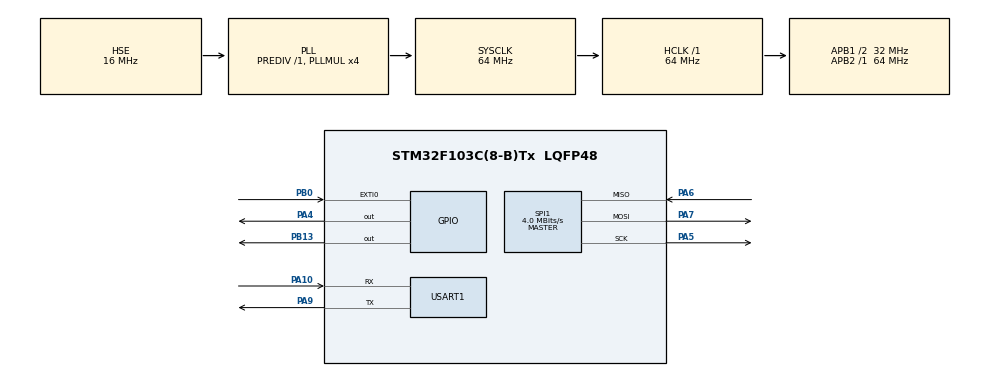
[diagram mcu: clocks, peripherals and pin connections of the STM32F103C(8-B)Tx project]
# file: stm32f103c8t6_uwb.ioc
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Mcu.Family=STM32F1
Mcu.Name=STM32F103C(8-B)Tx
Mcu.Package=LQFP48
NVIC.PriorityGroup=NVIC_PRIORITYGROUP_4
NVIC.USART1_IRQn=true\:0\:0\:false\:false\:true\:true\:true\:true
PA10.Mode=Asynchronous
PA10.Signal=USART1_RX
PA13.Mode=Serial_Wire
PA13.Signal=SYS_JTMS-SWDIO
PA14.Mode=Serial_Wire
PA14.Signal=SYS_JTCK-SWCLK
PA4.Signal=GPIO_Output
PA5.Mode=Full_Duplex_Master
PA5.Signal=SPI1_SCK
PA6.Mode=Full_Duplex_Master
PA6.Signal=SPI1_MISO
PA7.Mode=Full_Duplex_Master
PA7.Signal=SPI1_MOSI
PA9.Mode=Asynchronous
PA9.Signal=USART1_TX
PB0.Signal=GPXTI0
PB13.Signal=GPIO_Output
PD0-OSC_IN.Mode=HSE-External-Oscillator
PD0-OSC_IN.Signal=RCC_OSC_IN
PD1-OSC_OUT.Mode=HSE-External-Oscillator
PD1-OSC_OUT.Signal=RCC_OSC_OUT
ProjectManager.HeapSize=0x400
ProjectManager.StackSize=0x400
ProjectManager.TargetToolchain=MDK-ARM V5.27
RCC.AHBFreq_Value=64000000
RCC.APB1CLKDivider=RCC_HCLK_DIV2
RCC.APB1Freq_Value=32000000
RCC.APB1TimFreq_Value=64000000
RCC.APB2Freq_Value=64000000
RCC.APB2TimFreq_Value=64000000
RCC.HCLKFreq_Value=64000000
RCC.HSE_VALUE=16000000
RCC.PLLMUL=RCC_PLL_MUL4
RCC.PLLSourceVirtual=RCC_PLLSOURCE_HSE
RCC.SYSCLKFreq_VALUE=64000000
RCC.SYSCLKSource=RCC_SYSCLKSOURCE_PLLCLK
RCC.USBFreq_Value=64000000
SPI1.BaudRatePrescaler=SPI_BAUDRATEPRESCALER_16
SPI1.CLKPolarity=SPI_POLARITY_LOW
SPI1.CRCCalculation=SPI_CRCCALCULATION_DISABLE
SPI1.CalculateBaudRate=4.0 MBits/s
SPI1.Direction=SPI_DIRECTION_2LINES
SPI1.Mode=SPI_MODE_MASTER
SPI1.VirtualType=VM_MASTER
USART1.Parity=PARITY_NONE
USART1.VirtualMode=VM_ASYNC
board=custom

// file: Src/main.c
/* USER CODE BEGIN Header */
/**
  ******************************************************************************
  * @file           : main.c
  * @brief          : Main program body
  ******************************************************************************
  * @attention
  *
  * Copyright (c) 2023 STMicroelectronics.
  * All rights reserved.
  *
  * This software is licensed under terms that can be found in the LICENSE file
  * in the root directory of this software component.
  * If no LICENSE file comes with this software, it is provided AS-IS.
  *
  ******************************************************************************
  */
/* USER CODE END Header */
#include "main.h"
#include "spi.h"
#include "usart.h"
#include "gpio.h"

/* USER CODE BEGIN Includes */
#include <stdio.h>
#include <string.h>
#include "stdio.h"
#include "EventRecorder.h"
#include "dw1000.h"
#include "deca_device_api.h"
#include "deca_regs.h"

#include "uwb_boat_interface.h"
/* USER CODE END Includes */

/* USER CODE BEGIN PV */
/* Default communication configuration. We use here EVK1000's default mode (mode 3). */

/* USER CODE END PV */

void SystemClock_Config(void);
/* USER CODE BEGIN PFP */
extern int start_transmiting(void);
extern int start_receiving(void);
extern int start_simple_transmiting();
extern int start_simple_receiving();
extern void start_repeater();
extern void start_distance_meter();
extern void start_dm_agent();
extern uint8_t uart_flag;
/* USER CODE END PFP */

/* USER CODE BEGIN 0 */
uint8_t boat_uart_rx_flag = 0;
uint8_t buffer[20];
/* USER CODE END 0 */

int main(void)
{
  /* USER CODE BEGIN 1 */
	EventRecorderInitialize( EventRecordAll, 1 );
	EventRecorderStart();
  /* USER CODE END 1 */

  /* MCU Configuration--------------------------------------------------------*/

  /* Reset of all peripherals, Initializes the Flash interface and the Systick. */
  HAL_Init();

  /* Configure the system clock */
  SystemClock_Config();

  /* Initialize all configured peripherals */
  MX_GPIO_Init();
  MX_SPI1_Init();
  MX_USART1_UART_Init();
  /* USER CODE BEGIN 2 */
	//UWB_INTERFACE_init();
	HAL_UART_Receive_IT(&huart1, UWB_INTERFACE_getReceiveBuffer(), UWB_INTERFACE_getReceiveLength());
	//HAL_UART_Receive_IT(&huart1, buffer, 12);
  /* USER CODE END 2 */

  /* Infinite loop */
  /* USER CODE BEGIN WHILE */
  while (1)
  {
		//UWB_INTERFACE_iterate();
		switch(UWB_INTERFACE_iterate())
		{
			case UWB_INTERFACE_READY_TO_SEND_ERROR:
				printf("UWB error\n");
				HAL_UART_Transmit(&huart1, UWB_INTERFACE_getTransmitBuffer(), UWB_INTERFACE_getTransmitLength(), 100);
				break;
			case UWB_INTERFACE_READY_TO_SEND_OK:
				HAL_UART_Transmit(&huart1, UWB_INTERFACE_getTransmitBuffer(), UWB_INTERFACE_getTransmitLength(), 100);
				uint8_t* pointer = UWB_INTERFACE_getTransmitBuffer();
				printf("%u\n", UWB_INTERFACE_getTransmitLength());
				printf("%u, %u\n%u, %u\n%u, %u\n",
				pointer[6]&2, *(uint32_t*)(pointer+8), pointer[6]&4, *(uint32_t*)(pointer+12), pointer[6]&8, *(uint32_t*)(pointer+16));
				printf("%u %u\n", pointer[0], pointer[1]);
				//printf("%u %u\n", pointer[0], pointer[1]);
//				if(pointer[2] != 0)
//					printf("%u\n", pointer[2]);
				break;
			case UWB_INTERFACE_READY_TO_SEND_TASK_DONE:
				HAL_UART_Transmit(&huart1, UWB_INTERFACE_getTransmitBuffer(), UWB_INTERFACE_getTransmitLength(), 100);
				printf("Task done\n");
				break;
			default:
				printf("Smth strange\n");
				break;
		}
		if(boat_uart_rx_flag)
		{
			EventRecord2(0,0,0);
			boat_uart_rx_flag = 0;
			UWB_INTERFACE_markGetMessage();
//			uint16_t length = UWB_INTERFACE_getReceiveLength();
//			HAL_UART_Receive_IT(&huart1, UWB_INTERFACE_getReceiveBuffer(), length);
			//HAL_UART_Receive_IT(&huart1, buffer, 12);
			if(UWB_INTERFACE_isLastMessageIncorrect())
				printf("Wrong CRC\n");
			else
				printf("Got message\n");
		}
		uint16_t length = UWB_INTERFACE_getReceiveLength();
		HAL_UART_Receive_IT(&huart1, UWB_INTERFACE_getReceiveBuffer(), length);
    /* USER CODE END WHILE */

  }
}

void SystemClock_Config(void)
{
  RCC_OscInitTypeDef RCC_OscInitStruct = {0};
  RCC_ClkInitTypeDef RCC_ClkInitStruct = {0};

  /** Initializes the RCC Oscillators according to the specified parameters
  * in the RCC_OscInitTypeDef structure.
  */
  RCC_OscInitStruct.OscillatorType = RCC_OSCILLATORTYPE_HSE;
  RCC_OscInitStruct.HSEState = RCC_HSE_ON;
  RCC_OscInitStruct.HSEPredivValue = RCC_HSE_PREDIV_DIV1;
  RCC_OscInitStruct.HSIState = RCC_HSI_ON;
  RCC_OscInitStruct.PLL.PLLState = RCC_PLL_ON;
  RCC_OscInitStruct.PLL.PLLSource = RCC_PLLSOURCE_HSE;
  RCC_OscInitStruct.PLL.PLLMUL = RCC_PLL_MUL4;
  if (HAL_RCC_OscConfig(&RCC_OscInitStruct) != HAL_OK)
  {
    Error_Handler();
  }

  /** Initializes the CPU, AHB and APB buses clocks
  */
  RCC_ClkInitStruct.ClockType = RCC_CLOCKTYPE_HCLK|RCC_CLOCKTYPE_SYSCLK
                              |RCC_CLOCKTYPE_PCLK1|RCC_CLOCKTYPE_PCLK2;
  RCC_ClkInitStruct.SYSCLKSource = RCC_SYSCLKSOURCE_PLLCLK;
  RCC_ClkInitStruct.AHBCLKDivider = RCC_SYSCLK_DIV1;
  RCC_ClkInitStruct.APB1CLKDivider = RCC_HCLK_DIV2;
  RCC_ClkInitStruct.APB2CLKDivider = RCC_HCLK_DIV1;

  if (HAL_RCC_ClockConfig(&RCC_ClkInitStruct, FLASH_LATENCY_2) != HAL_OK)
  {
    Error_Handler();
  }
}

/* USER CODE BEGIN 4 */

void HAL_UART_RxCpltCallback(UART_HandleTypeDef *huart)
{
          if(huart == &huart1)
						boat_uart_rx_flag = 1;
}

/* USER CODE END 4 */

void Error_Handler(void)
{
  __disable_irq();
  while (1)
  {
  }
}
